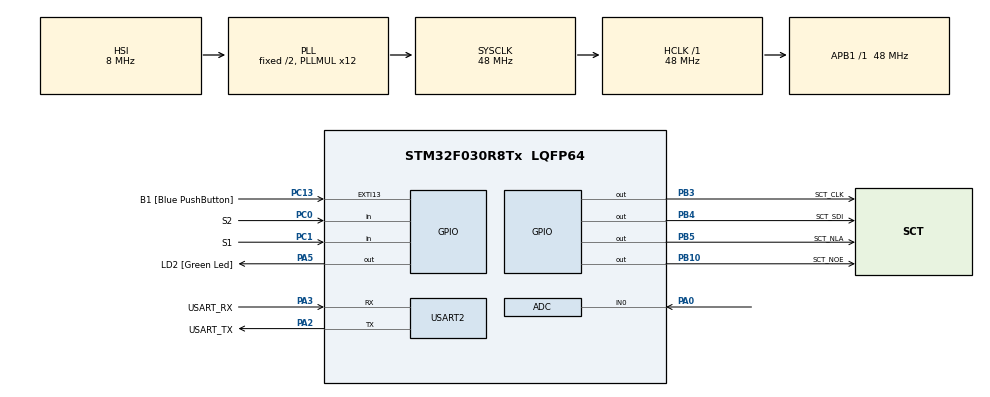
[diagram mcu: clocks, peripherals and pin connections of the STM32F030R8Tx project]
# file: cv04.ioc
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ADC.ContinuousConvMode=ENABLE
ADC.Overrun=ADC_OVR_DATA_OVERWRITTEN
ADC.SamplingTime=ADC_SAMPLETIME_239CYCLES_5
Mcu.Family=STM32F0
Mcu.Name=STM32F030R8Tx
Mcu.Package=LQFP64
NVIC.ADC1_IRQn=true\:0\:0\:false\:false\:true\:true\:true
PA0.Mode=IN0
PA0.Signal=ADC_IN0
PA13.GPIO_Label=TMS
PA13.Mode=Serial_Wire
PA13.Signal=SYS_SWDIO
PA14.GPIO_Label=TCK
PA14.Mode=Serial_Wire
PA14.Signal=SYS_SWCLK
PA2.GPIO_Label=USART_TX
PA2.GPIO_Mode=GPIO_MODE_AF_PP
PA2.GPIO_PuPd=GPIO_NOPULL
PA2.GPIO_Speed=GPIO_SPEED_FREQ_LOW
PA2.Mode=Asynchronous
PA2.Signal=USART2_TX
PA3.GPIO_Label=USART_RX
PA3.GPIO_Mode=GPIO_MODE_AF_PP
PA3.GPIO_PuPd=GPIO_NOPULL
PA3.GPIO_Speed=GPIO_SPEED_FREQ_LOW
PA3.Mode=Asynchronous
PA3.Signal=USART2_RX
PA5.GPIO_Label=LD2 [Green Led]
PA5.GPIO_Mode=GPIO_MODE_OUTPUT_PP
PA5.GPIO_PuPd=GPIO_NOPULL
PA5.GPIO_Speed=GPIO_SPEED_FREQ_LOW
PA5.Signal=GPIO_Output
PB10.GPIO_Label=SCT_NOE
PB10.Signal=GPIO_Output
PB3.GPIO_Label=SCT_CLK
PB3.Signal=GPIO_Output
PB4.GPIO_Label=SCT_SDI
PB4.Signal=GPIO_Output
PB5.GPIO_Label=SCT_NLA
PB5.Signal=GPIO_Output
PC0.GPIO_Label=S2
PC0.GPIO_PuPd=GPIO_PULLUP
PC0.Signal=GPIO_Input
PC1.GPIO_Label=S1
PC1.GPIO_PuPd=GPIO_PULLUP
PC1.Signal=GPIO_Input
PC13.GPIO_Label=B1 [Blue PushButton]
PC13.GPIO_ModeDefaultEXTI=GPIO_MODE_IT_FALLING
PC13.Signal=GPXTI13
PC14-OSC32_IN.Mode=LSE-External-Oscillator
PC14-OSC32_IN.Signal=RCC_OSC32_IN
PC15-OSC32_OUT.Mode=LSE-External-Oscillator
PC15-OSC32_OUT.Signal=RCC_OSC32_OUT
PF0-OSC_IN.Mode=HSE-External-Clock-Source
PF0-OSC_IN.Signal=RCC_OSC_IN
PF1-OSC_OUT.Signal=RCC_OSC_OUT
ProjectManager.HeapSize=0x200
ProjectManager.StackSize=0x400
ProjectManager.TargetToolchain=STM32CubeIDE
RCC.AHBFreq_Value=48000000
RCC.APB1Freq_Value=48000000
RCC.APB1TimFreq_Value=48000000
RCC.HCLKFreq_Value=48000000
RCC.PLLMUL=RCC_PLL_MUL12
RCC.SYSCLKFreq_VALUE=48000000
RCC.SYSCLKSource=RCC_SYSCLKSOURCE_PLLCLK
USART2.VirtualMode-Asynchronous=VM_ASYNC
VP_ADC_TempSens_Input.Mode=IN-TempSens
VP_ADC_Vref_Input.Mode=IN-Vrefint
board=NUCLEO-F030R8

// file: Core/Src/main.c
/* USER CODE BEGIN Header */
/**
  ******************************************************************************
  * @file           : main.c
  * @brief          : Main program body
  ******************************************************************************
  * @attention
  *
  * <h2><center>&copy; Copyright (c) 2021 STMicroelectronics.
  * All rights reserved.</center></h2>
  *
  * This software component is licensed by ST under BSD 3-Clause license,
  * the "License"; You may not use this file except in compliance with the
  * License. You may obtain a copy of the License at:
  *                        opensource.org/licenses/BSD-3-Clause
  *
  ******************************************************************************
  */
/* USER CODE END Header */
#include "main.h"

/* USER CODE BEGIN Includes */
#include "sct.h"
/* USER CODE END Includes */

/* USER CODE BEGIN PD */
#define ADC_Q 12
/* Temperature sensor calibration value address */
#define TEMP110_CAL_ADDR ((uint16_t*) ((uint32_t) 0x1FFFF7C2))
#define TEMP30_CAL_ADDR ((uint16_t*) ((uint32_t) 0x1FFFF7B8))
/* Internal voltage reference calibration value address */
#define VREFINT_CAL_ADDR ((uint16_t*) ((uint32_t) 0x1FFFF7BA))
/* USER CODE END PD */

ADC_HandleTypeDef hadc;

UART_HandleTypeDef huart2;

void SystemClock_Config(void);
static void MX_GPIO_Init(void);
static void MX_USART2_UART_Init(void);
static void MX_ADC_Init(void);

/* USER CODE BEGIN 0 */
uint32_t cislo;
uint32_t bargraf;
static volatile uint32_t raw_pot;
static volatile uint32_t channel_0;
static volatile uint32_t raw_temp;
static volatile uint32_t raw_volt;

void EXTI0_1_IRQHandler(void)
{
	if (EXTI->PR & EXTI_PR_PR0) { // check line 0 has triggered the IT
		EXTI->PR |= EXTI_PR_PR0; // clear the pending bit
		GPIOB->ODR ^= (1 << 0);
	}
}

/* HAL_ADC_ConvCpltCallback() */
void HAL_ADC_ConvCpltCallback(ADC_HandleTypeDef* hadc)
{
 static uint32_t avg_pot = 0;
 static uint32_t channel;
 //raw_pot = HAL_ADC_GetValue(hadc);

 if (channel==0){
 		raw_pot = avg_pot >> ADC_Q;
 		avg_pot -= raw_pot;
 		avg_pot += HAL_ADC_GetValue(hadc);
 	}

 	if(channel==1){
 		raw_temp = HAL_ADC_GetValue(hadc);
 	}

 	if(channel==2){
 		raw_volt = HAL_ADC_GetValue(hadc);
 	}

  if (__HAL_ADC_GET_FLAG(hadc, ADC_FLAG_EOS)) channel = 0;
  else channel++;
}

void prepinac(uint32_t voltage, int32_t temperature, uint16_t pot, uint8_t led){

static uint32_t time;
	static uint32_t new_time;
	static enum { SHOW_POT, SHOW_VOLT, SHOW_TEMP } state = SHOW_POT;

	if (HAL_GPIO_ReadPin(S1_GPIO_Port,S1_Pin)==0){
		state = SHOW_VOLT;
		time=HAL_GetTick();
	}

	else if (HAL_GPIO_ReadPin(S2_GPIO_Port,S2_Pin)==0){
		state = SHOW_TEMP;
		time=HAL_GetTick();
	}

	else if (state == SHOW_VOLT) {
		sct_value(voltage,8);
		new_time=HAL_GetTick();
		if (time+1000<new_time){
			state = SHOW_POT;
		}

	}
	else if (state == SHOW_TEMP) {
		sct_value(temperature,8);
		new_time=HAL_GetTick();
		if (time+1000<new_time){
			state = SHOW_POT;
		}
	}
	else if (state == SHOW_POT) {
		sct_value(pot,led);
	}
}
/* USER CODE END 0 */

int main(void)
{

  /* MCU Configuration--------------------------------------------------------*/

  /* Reset of all peripherals, Initializes the Flash interface and the Systick. */
  HAL_Init();

  /* Configure the system clock */
  SystemClock_Config();

  /* Initialize all configured peripherals */
  MX_GPIO_Init();
  MX_USART2_UART_Init();
  MX_ADC_Init();
  /* USER CODE BEGIN 2 */
  sct_init();
  HAL_ADCEx_Calibration_Start(&hadc);
  HAL_ADC_Start_IT(&hadc);
  /* USER CODE END 2 */

  /* Infinite loop */
  while (1)
  {

    /* USER CODE BEGIN 3 */
	/*cislo = (raw_pot*500)/4096;
	bargraf = (cislo*9)/500;
	sct_value(cislo, bargraf);
	*/

	uint16_t pot;
	uint8_t led;
	uint32_t voltage = 330 * (*VREFINT_CAL_ADDR) / raw_volt;

	int32_t temperature = (raw_temp - (int32_t)(*TEMP30_CAL_ADDR));

	temperature = temperature * (int32_t)(110 - 30);
	temperature = temperature / (int32_t)(*TEMP110_CAL_ADDR - *TEMP30_CAL_ADDR);
	temperature = temperature + 30;

	pot=(raw_pot*500)/4096;
	led=(raw_pot*9)/4096;

	prepinac(voltage,temperature,pot,led);

	HAL_Delay(50);
  }
  /* USER CODE END 3 */
}

void SystemClock_Config(void)
{
  RCC_OscInitTypeDef RCC_OscInitStruct = {0};
  RCC_ClkInitTypeDef RCC_ClkInitStruct = {0};

  /** Initializes the RCC Oscillators according to the specified parameters
  * in the RCC_OscInitTypeDef structure.
  */
  RCC_OscInitStruct.OscillatorType = RCC_OSCILLATORTYPE_HSI|RCC_OSCILLATORTYPE_HSI14;
  RCC_OscInitStruct.HSIState = RCC_HSI_ON;
  RCC_OscInitStruct.HSI14State = RCC_HSI14_ON;
  RCC_OscInitStruct.HSICalibrationValue = RCC_HSICALIBRATION_DEFAULT;
  RCC_OscInitStruct.HSI14CalibrationValue = 16;
  RCC_OscInitStruct.PLL.PLLState = RCC_PLL_ON;
  RCC_OscInitStruct.PLL.PLLSource = RCC_PLLSOURCE_HSI;
  RCC_OscInitStruct.PLL.PLLMUL = RCC_PLL_MUL12;
  RCC_OscInitStruct.PLL.PREDIV = RCC_PREDIV_DIV1;
  if (HAL_RCC_OscConfig(&RCC_OscInitStruct) != HAL_OK)
  {
    Error_Handler();
  }
  /** Initializes the CPU, AHB and APB buses clocks
  */
  RCC_ClkInitStruct.ClockType = RCC_CLOCKTYPE_HCLK|RCC_CLOCKTYPE_SYSCLK
                              |RCC_CLOCKTYPE_PCLK1;
  RCC_ClkInitStruct.SYSCLKSource = RCC_SYSCLKSOURCE_PLLCLK;
  RCC_ClkInitStruct.AHBCLKDivider = RCC_SYSCLK_DIV1;
  RCC_ClkInitStruct.APB1CLKDivider = RCC_HCLK_DIV1;

  if (HAL_RCC_ClockConfig(&RCC_ClkInitStruct, FLASH_LATENCY_1) != HAL_OK)
  {
    Error_Handler();
  }
}

static void MX_ADC_Init(void)
{

  ADC_ChannelConfTypeDef sConfig = {0};

  /** Configure the global features of the ADC (Clock, Resolution, Data Alignment and number of conversion)
  */
  hadc.Instance = ADC1;
  hadc.Init.ClockPrescaler = ADC_CLOCK_ASYNC_DIV1;
  hadc.Init.Resolution = ADC_RESOLUTION_12B;
  hadc.Init.DataAlign = ADC_DATAALIGN_RIGHT;
  hadc.Init.ScanConvMode = ADC_SCAN_DIRECTION_FORWARD;
  hadc.Init.EOCSelection = ADC_EOC_SINGLE_CONV;
  hadc.Init.LowPowerAutoWait = DISABLE;
  hadc.Init.LowPowerAutoPowerOff = DISABLE;
  hadc.Init.ContinuousConvMode = ENABLE;
  hadc.Init.DiscontinuousConvMode = DISABLE;
  hadc.Init.ExternalTrigConv = ADC_SOFTWARE_START;
  hadc.Init.ExternalTrigConvEdge = ADC_EXTERNALTRIGCONVEDGE_NONE;
  hadc.Init.DMAContinuousRequests = DISABLE;
  hadc.Init.Overrun = ADC_OVR_DATA_OVERWRITTEN;
  if (HAL_ADC_Init(&hadc) != HAL_OK)
  {
    Error_Handler();
  }
  /** Configure for the selected ADC regular channel to be converted.
  */
  sConfig.Channel = ADC_CHANNEL_0;
  sConfig.Rank = ADC_RANK_CHANNEL_NUMBER;
  sConfig.SamplingTime = ADC_SAMPLETIME_239CYCLES_5;
  if (HAL_ADC_ConfigChannel(&hadc, &sConfig) != HAL_OK)
  {
    Error_Handler();
  }
  /** Configure for the selected ADC regular channel to be converted.
  */
  sConfig.Channel = ADC_CHANNEL_TEMPSENSOR;
  if (HAL_ADC_ConfigChannel(&hadc, &sConfig) != HAL_OK)
  {
    Error_Handler();
  }
  /** Configure for the selected ADC regular channel to be converted.
  */
  sConfig.Channel = ADC_CHANNEL_VREFINT;
  if (HAL_ADC_ConfigChannel(&hadc, &sConfig) != HAL_OK)
  {
    Error_Handler();
  }

}

static void MX_USART2_UART_Init(void)
{

  huart2.Instance = USART2;
  huart2.Init.BaudRate = 38400;
  huart2.Init.WordLength = UART_WORDLENGTH_8B;
  huart2.Init.StopBits = UART_STOPBITS_1;
  huart2.Init.Parity = UART_PARITY_NONE;
  huart2.Init.Mode = UART_MODE_TX_RX;
  huart2.Init.HwFlowCtl = UART_HWCONTROL_NONE;
  huart2.Init.OverSampling = UART_OVERSAMPLING_16;
  huart2.Init.OneBitSampling = UART_ONE_BIT_SAMPLE_DISABLE;
  huart2.AdvancedInit.AdvFeatureInit = UART_ADVFEATURE_NO_INIT;
  if (HAL_UART_Init(&huart2) != HAL_OK)
  {
    Error_Handler();
  }

}

static void MX_GPIO_Init(void)
{
  GPIO_InitTypeDef GPIO_InitStruct = {0};

  /* GPIO Ports Clock Enable */
  __HAL_RCC_GPIOC_CLK_ENABLE();
  __HAL_RCC_GPIOF_CLK_ENABLE();
  __HAL_RCC_GPIOA_CLK_ENABLE();
  __HAL_RCC_GPIOB_CLK_ENABLE();

  /*Configure GPIO pin Output Level */
  HAL_GPIO_WritePin(LD2_GPIO_Port, LD2_Pin, GPIO_PIN_RESET);

  /*Configure GPIO pin Output Level */
  HAL_GPIO_WritePin(GPIOB, SCT_NOE_Pin|SCT_CLK_Pin|SCT_SDI_Pin|SCT_NLA_Pin, GPIO_PIN_RESET);

  /*Configure GPIO pin : B1_Pin */
  GPIO_InitStruct.Pin = B1_Pin;
  GPIO_InitStruct.Mode = GPIO_MODE_IT_FALLING;
  GPIO_InitStruct.Pull = GPIO_NOPULL;
  HAL_GPIO_Init(B1_GPIO_Port, &GPIO_InitStruct);

  /*Configure GPIO pins : S2_Pin S1_Pin */
  GPIO_InitStruct.Pin = S2_Pin|S1_Pin;
  GPIO_InitStruct.Mode = GPIO_MODE_INPUT;
  GPIO_InitStruct.Pull = GPIO_PULLUP;
  HAL_GPIO_Init(GPIOC, &GPIO_InitStruct);

  /*Configure GPIO pin : LD2_Pin */
  GPIO_InitStruct.Pin = LD2_Pin;
  GPIO_InitStruct.Mode = GPIO_MODE_OUTPUT_PP;
  GPIO_InitStruct.Pull = GPIO_NOPULL;
  GPIO_InitStruct.Speed = GPIO_SPEED_FREQ_LOW;
  HAL_GPIO_Init(LD2_GPIO_Port, &GPIO_InitStruct);

  /*Configure GPIO pins : SCT_NOE_Pin SCT_CLK_Pin SCT_SDI_Pin SCT_NLA_Pin */
  GPIO_InitStruct.Pin = SCT_NOE_Pin|SCT_CLK_Pin|SCT_SDI_Pin|SCT_NLA_Pin;
  GPIO_InitStruct.Mode = GPIO_MODE_OUTPUT_PP;
  GPIO_InitStruct.Pull = GPIO_NOPULL;
  GPIO_InitStruct.Speed = GPIO_SPEED_FREQ_LOW;
  HAL_GPIO_Init(GPIOB, &GPIO_InitStruct);

}

void Error_Handler(void)
{
  __disable_irq();
  while (1)
  {
  }
}

/************************ (C) COPYRIGHT STMicroelectronics *****END OF FILE****/
